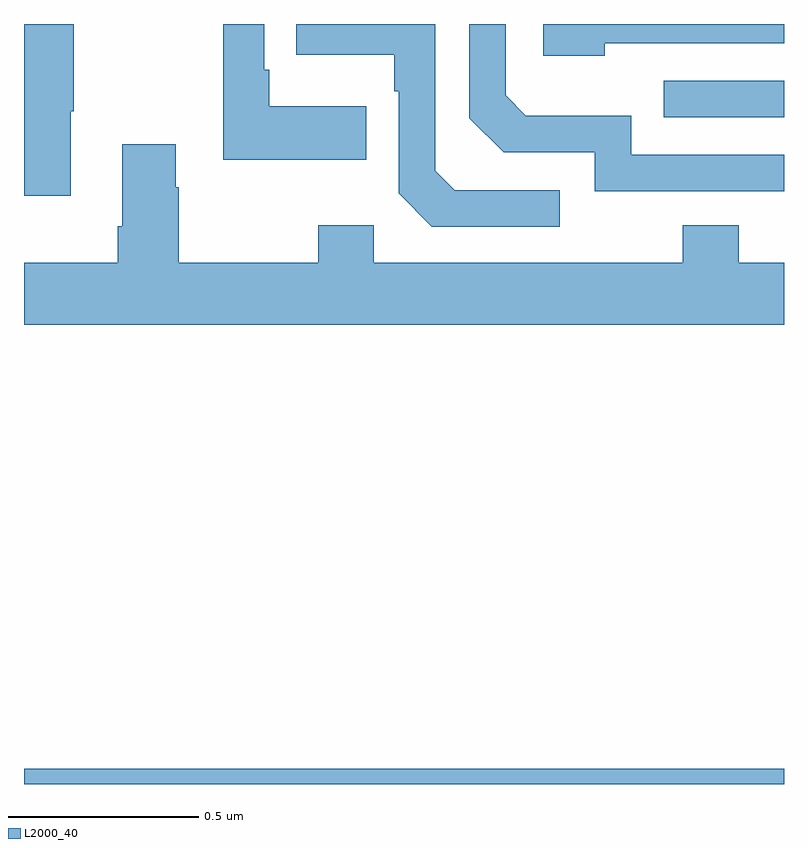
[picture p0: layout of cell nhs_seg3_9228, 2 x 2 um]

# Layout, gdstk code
import gdstk
lib = gdstk.Library(unit=1e-6, precision=1e-09)
def R(c, l, rs):  # rectangles x0, y0, x1, y1
    for r in rs: c.add(gdstk.rectangle(r[:2], r[2:], *l))
def P(c, l, *ps):  # polygons
    for p in ps: c.add(gdstk.Polygon(p, *l))
L2000_40 = (2000, 40)

nhs_seg3_9228 = lib.new_cell('nhs_seg3_9228')
R(nhs_seg3_9228, L2000_40, [(226,674.4,228,674.44), (227.683,676.155,228,676.251)])
P(nhs_seg3_9228, L2000_40, [(228,676.056),(227.598,676.056),(227.598,676.159),(227.321,676.159),(227.268,676.212),(227.268,676.4),(227.172,676.4),(227.172,676.152),(227.262,676.062),(227.502,676.062),(227.502,675.96),(228,675.96)],
  [(227.528,676.35),(228,676.35),(228,676.4),(227.367,676.4),(227.367,676.316),(227.528,676.316)],
  [(227.41,675.963),(227.133,675.963),(227.082,676.014),(227.082,676.4),(226.717,676.4),(226.717,676.319),(226.974,676.319),(226.974,676.223),(226.986,676.223),(226.986,675.954),(227.073,675.867),(227.41,675.867)],
  [(226.123,676.171),(226.131,676.171),(226.131,676.4),(226,676.4),(226,675.948),(226.123,675.948)],
  [(226.901,676.183),(226.645,676.183),(226.645,676.279),(226.632,676.279),(226.632,676.4),(226.524,676.4),(226.524,676.043),(226.901,676.043)],
  [(228,675.772),(227.881,675.772),(227.881,675.871),(227.734,675.871),(227.734,675.772),(226.92,675.772),(226.92,675.871),(226.774,675.871),(226.774,675.772),(226.407,675.772),(226.407,675.971),(226.399,675.971),(226.399,676.084),(226.259,676.084),(226.259,675.868),(226.247,675.868),(226.247,675.772),(226,675.772),(226,675.608),(228,675.608)])

lib.write_gds('nhs_seg3_9228.gds')
